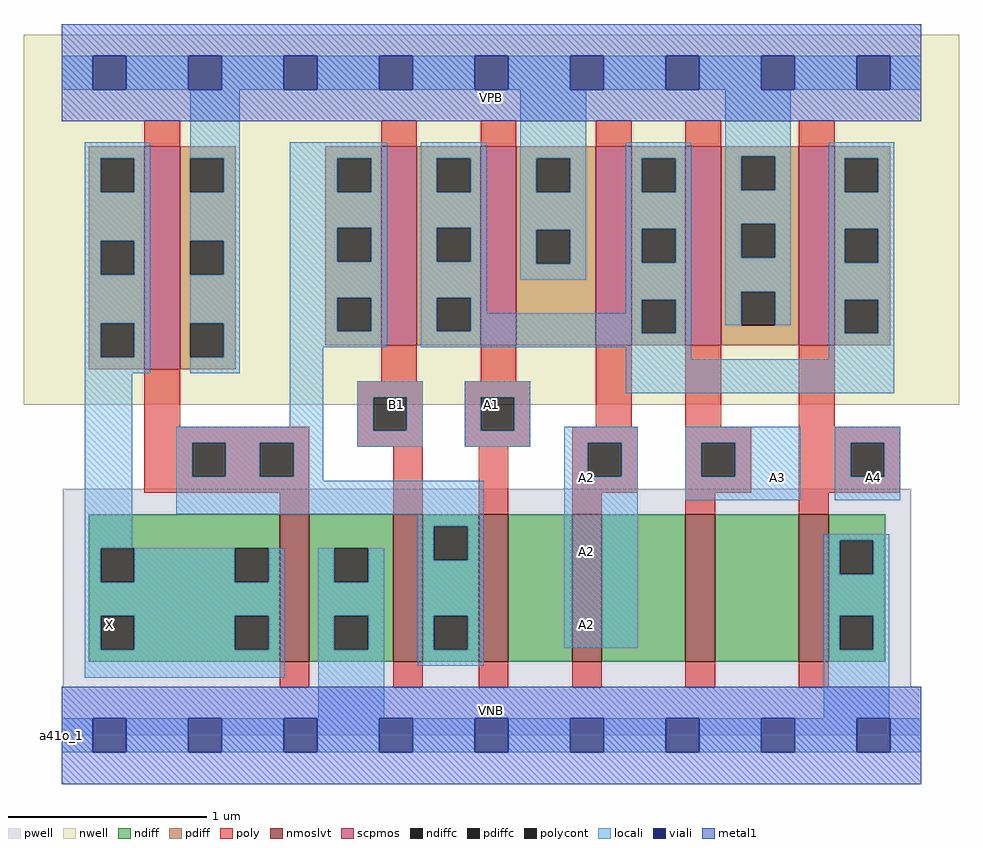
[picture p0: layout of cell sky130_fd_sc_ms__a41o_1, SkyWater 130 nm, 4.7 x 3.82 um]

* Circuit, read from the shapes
.subckt sky130_fd_sc_ms__a41o_1 A1 A2 A3 A4 B1 VGND VNB VPB VPWR X
XM1 VGND n1 X VNB sky130_fd_pr__nfet_01v8_lvt w=0.74 l=0.15
XM2 n1 B1 VGND VNB sky130_fd_pr__nfet_01v8_lvt w=0.74 l=0.15
XM3 n2 A1 n1 VNB sky130_fd_pr__nfet_01v8_lvt w=0.74 l=0.15
XM4 n3 A2 n2 VNB sky130_fd_pr__nfet_01v8_lvt w=0.74 l=0.15
XM5 n4 A3 n3 VNB sky130_fd_pr__nfet_01v8_lvt w=0.74 l=0.15
XM6 VGND A4 n4 VNB sky130_fd_pr__nfet_01v8_lvt w=0.74 l=0.15
XM7 VPWR n1 X VPB sky130_fd_pr__pfet_01v8 w=1.12 l=0.18
XM8 n5 B1 n1 VPB sky130_fd_pr__pfet_01v8 w=1 l=0.18
XM9 VPWR A1 n5 VPB sky130_fd_pr__pfet_01v8 w=1 l=0.18
XM10 n5 A2 VPWR VPB sky130_fd_pr__pfet_01v8 w=1 l=0.18
XM11 VPWR A3 n5 VPB sky130_fd_pr__pfet_01v8 w=1 l=0.18
XM12 n5 A4 VPWR VPB sky130_fd_pr__pfet_01v8 w=1 l=0.18
.ends

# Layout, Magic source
magic
tech sky130A
magscale 1 2
<< nwell >>
rect -38 332 902 704
<< pwell >>
rect 1 49 854 248
rect 0 0 864 49
<< scpmos >>
rect 83 368 119 592
rect 321 392 357 592
rect 421 392 457 592
rect 537 392 573 592
rect 627 392 663 592
rect 741 392 777 592
<< nmoslvt >>
rect 219 74 249 222
rect 333 74 363 222
rect 419 74 449 222
rect 513 74 543 222
rect 627 74 657 222
rect 741 74 771 222
<< ndiff >>
rect 27 188 219 222
rect 27 154 39 188
rect 73 154 174 188
rect 208 154 219 188
rect 27 120 219 154
rect 27 86 39 120
rect 73 86 174 120
rect 208 86 219 120
rect 27 74 219 86
rect 249 188 333 222
rect 249 154 274 188
rect 308 154 333 188
rect 249 120 333 154
rect 249 86 274 120
rect 308 86 333 120
rect 249 74 333 86
rect 363 210 419 222
rect 363 176 374 210
rect 408 176 419 210
rect 363 120 419 176
rect 363 86 374 120
rect 408 86 419 120
rect 363 74 419 86
rect 449 74 513 222
rect 543 74 627 222
rect 657 74 741 222
rect 771 196 828 222
rect 771 162 782 196
rect 816 162 828 196
rect 771 120 828 162
rect 771 86 782 120
rect 816 86 828 120
rect 771 74 828 86
<< pdiff >>
rect 27 580 83 592
rect 27 546 39 580
rect 73 546 83 580
rect 27 497 83 546
rect 27 463 39 497
rect 73 463 83 497
rect 27 414 83 463
rect 27 380 39 414
rect 73 380 83 414
rect 27 368 83 380
rect 119 580 175 592
rect 119 546 129 580
rect 163 546 175 580
rect 119 497 175 546
rect 119 463 129 497
rect 163 463 175 497
rect 119 414 175 463
rect 119 380 129 414
rect 163 380 175 414
rect 265 580 321 592
rect 265 546 277 580
rect 311 546 321 580
rect 265 510 321 546
rect 265 476 277 510
rect 311 476 321 510
rect 265 440 321 476
rect 265 406 277 440
rect 311 406 321 440
rect 265 392 321 406
rect 357 580 421 592
rect 357 546 377 580
rect 411 546 421 580
rect 357 510 421 546
rect 357 476 377 510
rect 411 476 421 510
rect 357 440 421 476
rect 357 406 377 440
rect 411 406 421 440
rect 357 392 421 406
rect 457 580 537 592
rect 457 546 477 580
rect 511 546 537 580
rect 457 508 537 546
rect 457 474 477 508
rect 511 474 537 508
rect 457 392 537 474
rect 573 580 627 592
rect 573 546 583 580
rect 617 546 627 580
rect 573 509 627 546
rect 573 475 583 509
rect 617 475 627 509
rect 573 438 627 475
rect 573 404 583 438
rect 617 404 627 438
rect 573 392 627 404
rect 663 582 741 592
rect 663 548 683 582
rect 717 548 741 582
rect 663 514 741 548
rect 663 480 683 514
rect 717 480 741 514
rect 663 446 741 480
rect 663 412 683 446
rect 717 412 741 446
rect 663 392 741 412
rect 777 580 833 592
rect 777 546 787 580
rect 821 546 833 580
rect 777 509 833 546
rect 777 475 787 509
rect 821 475 833 509
rect 777 438 833 475
rect 777 404 787 438
rect 821 404 833 438
rect 777 392 833 404
rect 119 368 175 380
<< ndiffc >>
rect 39 154 73 188
rect 174 154 208 188
rect 39 86 73 120
rect 174 86 208 120
rect 274 154 308 188
rect 274 86 308 120
rect 374 176 408 210
rect 374 86 408 120
rect 782 162 816 196
rect 782 86 816 120
<< pdiffc >>
rect 39 546 73 580
rect 39 463 73 497
rect 39 380 73 414
rect 129 546 163 580
rect 129 463 163 497
rect 129 380 163 414
rect 277 546 311 580
rect 277 476 311 510
rect 277 406 311 440
rect 377 546 411 580
rect 377 476 411 510
rect 377 406 411 440
rect 477 546 511 580
rect 477 474 511 508
rect 583 546 617 580
rect 583 475 617 509
rect 583 404 617 438
rect 683 548 717 582
rect 683 480 717 514
rect 683 412 717 446
rect 787 546 821 580
rect 787 475 821 509
rect 787 404 821 438
<< poly >>
rect 83 592 119 618
rect 321 592 357 618
rect 421 592 457 618
rect 537 592 573 618
rect 627 592 663 618
rect 741 592 777 618
rect 83 310 119 368
rect 321 356 357 392
rect 421 356 457 392
rect 297 340 363 356
rect 83 294 249 310
rect 83 260 131 294
rect 165 260 199 294
rect 233 260 249 294
rect 297 306 313 340
rect 347 306 363 340
rect 297 290 363 306
rect 405 340 471 356
rect 405 306 421 340
rect 455 306 471 340
rect 537 310 573 392
rect 627 310 663 392
rect 741 310 777 392
rect 405 290 471 306
rect 513 294 579 310
rect 83 244 249 260
rect 219 222 249 244
rect 333 222 363 290
rect 419 222 449 290
rect 513 260 529 294
rect 563 260 579 294
rect 513 244 579 260
rect 627 294 693 310
rect 627 260 643 294
rect 677 260 693 294
rect 627 244 693 260
rect 741 294 843 310
rect 741 260 793 294
rect 827 260 843 294
rect 741 244 843 260
rect 513 222 543 244
rect 627 222 657 244
rect 741 222 771 244
rect 219 48 249 74
rect 333 48 363 74
rect 419 48 449 74
rect 513 48 543 74
rect 627 48 657 74
rect 741 48 771 74
<< polycont >>
rect 131 260 165 294
rect 199 260 233 294
rect 313 306 347 340
rect 421 306 455 340
rect 529 260 563 294
rect 643 260 677 294
rect 793 260 827 294
<< locali >>
rect 0 649 31 683
rect 65 649 127 683
rect 161 649 223 683
rect 257 649 319 683
rect 353 649 415 683
rect 449 649 511 683
rect 545 649 607 683
rect 641 649 703 683
rect 737 649 799 683
rect 833 649 864 683
rect 23 580 89 596
rect 23 546 39 580
rect 73 546 89 580
rect 23 497 89 546
rect 23 463 39 497
rect 73 463 89 497
rect 23 414 89 463
rect 23 380 39 414
rect 73 380 89 414
rect 23 364 89 380
rect 129 580 179 649
rect 163 546 179 580
rect 129 497 179 546
rect 163 463 179 497
rect 129 414 179 463
rect 163 380 179 414
rect 129 364 179 380
rect 229 580 327 596
rect 229 546 277 580
rect 311 546 327 580
rect 229 510 327 546
rect 229 476 277 510
rect 311 476 327 510
rect 229 440 327 476
rect 229 406 277 440
rect 311 406 327 440
rect 229 390 327 406
rect 361 580 427 596
rect 361 546 377 580
rect 411 546 427 580
rect 361 510 427 546
rect 361 476 377 510
rect 411 476 427 510
rect 361 440 427 476
rect 461 580 527 649
rect 461 546 477 580
rect 511 546 527 580
rect 461 508 527 546
rect 461 474 477 508
rect 511 474 527 508
rect 461 458 527 474
rect 567 580 633 596
rect 567 546 583 580
rect 617 546 633 580
rect 567 509 633 546
rect 567 475 583 509
rect 617 475 633 509
rect 361 406 377 440
rect 411 424 427 440
rect 567 438 633 475
rect 567 424 583 438
rect 411 406 583 424
rect 361 404 583 406
rect 617 404 633 438
rect 667 582 733 649
rect 667 548 683 582
rect 717 548 733 582
rect 667 514 733 548
rect 667 480 683 514
rect 717 480 733 514
rect 667 446 733 480
rect 667 412 683 446
rect 717 412 733 446
rect 771 580 837 596
rect 771 546 787 580
rect 821 546 837 580
rect 771 509 837 546
rect 771 475 787 509
rect 821 475 837 509
rect 771 438 837 475
rect 361 390 633 404
rect 23 188 71 364
rect 229 310 263 390
rect 567 378 633 390
rect 771 404 787 438
rect 821 404 837 438
rect 771 378 837 404
rect 115 294 263 310
rect 115 260 131 294
rect 165 260 199 294
rect 233 260 263 294
rect 297 340 363 356
rect 297 306 313 340
rect 347 306 363 340
rect 297 290 363 306
rect 405 340 471 356
rect 567 344 837 378
rect 405 306 421 340
rect 455 306 471 340
rect 405 290 471 306
rect 505 294 579 310
rect 115 256 263 260
rect 505 260 529 294
rect 563 260 579 294
rect 115 222 424 256
rect 358 210 424 222
rect 23 154 39 188
rect 73 154 174 188
rect 208 154 224 188
rect 23 120 224 154
rect 23 86 39 120
rect 73 86 174 120
rect 208 86 224 120
rect 23 58 224 86
rect 258 154 274 188
rect 308 154 324 188
rect 258 120 324 154
rect 258 86 274 120
rect 308 86 324 120
rect 258 17 324 86
rect 358 176 374 210
rect 408 176 424 210
rect 358 120 424 176
rect 358 86 374 120
rect 408 86 424 120
rect 505 88 579 260
rect 627 294 743 310
rect 627 260 643 294
rect 677 260 743 294
rect 627 236 743 260
rect 777 294 843 310
rect 777 260 793 294
rect 827 260 843 294
rect 777 236 843 260
rect 766 196 832 202
rect 766 162 782 196
rect 816 162 832 196
rect 766 120 832 162
rect 358 70 424 86
rect 766 86 782 120
rect 816 86 832 120
rect 766 17 832 86
rect 0 -17 31 17
rect 65 -17 127 17
rect 161 -17 223 17
rect 257 -17 319 17
rect 353 -17 415 17
rect 449 -17 511 17
rect 545 -17 607 17
rect 641 -17 703 17
rect 737 -17 799 17
rect 833 -17 864 17
<< viali >>
rect 31 649 65 683
rect 127 649 161 683
rect 223 649 257 683
rect 319 649 353 683
rect 415 649 449 683
rect 511 649 545 683
rect 607 649 641 683
rect 703 649 737 683
rect 799 649 833 683
rect 31 -17 65 17
rect 127 -17 161 17
rect 223 -17 257 17
rect 319 -17 353 17
rect 415 -17 449 17
rect 511 -17 545 17
rect 607 -17 641 17
rect 703 -17 737 17
rect 799 -17 833 17
<< metal1 >>
rect 0 683 864 715
rect 0 649 31 683
rect 65 649 127 683
rect 161 649 223 683
rect 257 649 319 683
rect 353 649 415 683
rect 449 649 511 683
rect 545 649 607 683
rect 641 649 703 683
rect 737 649 799 683
rect 833 649 864 683
rect 0 617 864 649
rect 0 17 864 49
rect 0 -17 31 17
rect 65 -17 127 17
rect 161 -17 223 17
rect 257 -17 319 17
rect 353 -17 415 17
rect 449 -17 511 17
rect 545 -17 607 17
rect 641 -17 703 17
rect 737 -17 799 17
rect 833 -17 864 17
rect 0 -49 864 -17
<< labels >>
flabel pwell s 0 0 864 49 0 FreeSans 200 0 0 0 VNB
port 7 nsew ground bidirectional
flabel nwell s 0 617 864 666 0 FreeSans 200 0 0 0 VPB
port 8 nsew power bidirectional
rlabel comment s 0 0 0 0 4 a41o_1
flabel metal1 s 0 617 864 666 0 FreeSans 340 0 0 0 VPWR
port 9 nsew power bidirectional
flabel metal1 s 0 0 864 49 0 FreeSans 340 0 0 0 VGND
port 6 nsew ground bidirectional
flabel locali s 799 242 833 276 0 FreeSans 340 0 0 0 A4
port 4 nsew signal input
flabel locali s 415 316 449 350 0 FreeSans 340 0 0 0 A1
port 1 nsew signal input
flabel locali s 511 94 545 128 0 FreeSans 340 0 0 0 A2
port 2 nsew signal input
flabel locali s 511 168 545 202 0 FreeSans 340 0 0 0 A2
port 2 nsew signal input
flabel locali s 511 242 545 276 0 FreeSans 340 0 0 0 A2
port 2 nsew signal input
flabel locali s 703 242 737 276 0 FreeSans 340 0 0 0 A3
port 3 nsew signal input
flabel locali s 319 316 353 350 0 FreeSans 340 0 0 0 B1
port 5 nsew signal input
flabel locali s 31 94 65 128 0 FreeSans 340 0 0 0 X
port 10 nsew signal output
<< properties >>
string LEFsite unit
string LEFclass CORE
string FIXED_BBOX 0 0 864 666
string GDS_FILE $PDKPATH/libs.ref/sky130_fd_sc_ms/gds/sky130_fd_sc_ms.gds
string LEFsymmetry X Y
string GDS_END 3530238
string GDS_START 3522386
<< end >>
